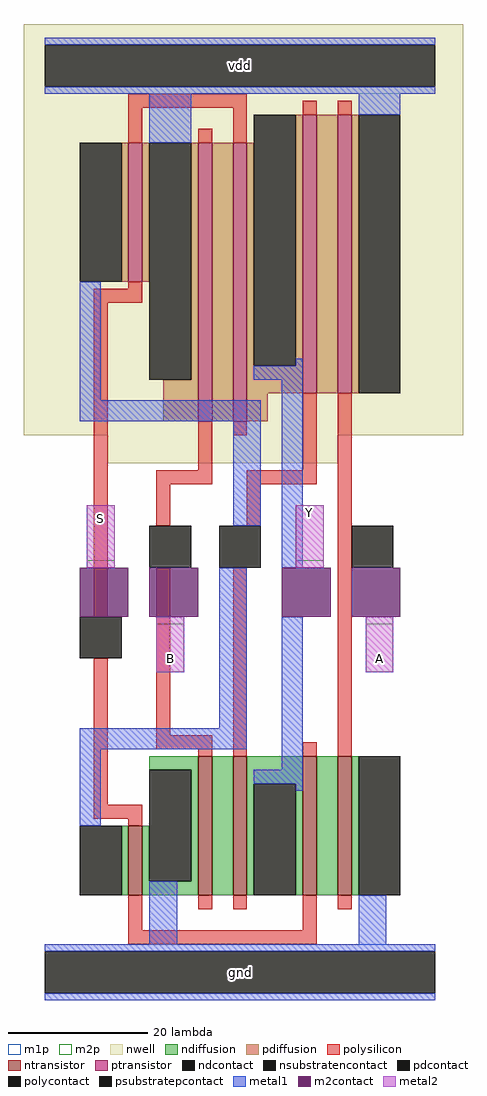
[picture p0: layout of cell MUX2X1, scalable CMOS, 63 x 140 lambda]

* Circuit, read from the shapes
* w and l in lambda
.subckt MUX2X1 A B S Y vdd gnd
M1 gnd S n1 gnd nfet w=10 l=2
M2 n2 B gnd gnd nfet w=20 l=2
M3 Y n1 n2 gnd nfet w=20 l=2
M4 n3 S Y gnd nfet w=20 l=2
M5 gnd A n3 gnd nfet w=20 l=2
M6 vdd S n1 vdd pfet w=20 l=2
M7 n4 B vdd vdd pfet w=40 l=2
M8 Y S n4 vdd pfet w=40 l=2
M9 n5 n1 Y vdd pfet w=40 l=2
M10 vdd A n5 vdd pfet w=40 l=2
.ends

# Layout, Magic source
magic
tech scmos
<< nwell >>
rect -6 77 57 136
rect 6 73 39 77
<< ntransistor >>
rect 9 11 11 21
rect 19 11 21 31
rect 24 11 26 31
rect 34 11 36 31
rect 39 11 41 31
<< ptransistor >>
rect 9 99 11 119
rect 19 79 21 119
rect 24 79 26 119
rect 34 83 36 123
rect 39 83 41 123
<< ndiffusion >>
rect 12 29 19 31
rect 8 11 9 21
rect 11 13 12 21
rect 18 13 19 29
rect 11 11 19 13
rect 21 11 24 31
rect 26 27 34 31
rect 26 11 27 27
rect 33 11 34 27
rect 36 11 39 31
rect 41 11 42 31
<< pdiffusion >>
rect 8 99 9 119
rect 11 99 12 119
rect 18 85 19 119
rect 14 79 19 85
rect 21 79 24 119
rect 26 87 27 119
rect 33 87 34 123
rect 26 83 34 87
rect 36 83 39 123
rect 41 83 42 123
rect 26 79 29 83
<< ndcontact >>
rect 2 11 8 21
rect 12 13 18 29
rect 27 11 33 27
rect 42 11 48 31
<< pdcontact >>
rect 2 99 8 119
rect 12 85 18 119
rect 27 87 33 123
rect 42 83 48 123
<< psubstratepcontact >>
rect -3 -3 53 3
<< nsubstratencontact >>
rect -3 127 53 133
<< polysilicon >>
rect 9 124 26 126
rect 9 119 11 124
rect 19 119 21 121
rect 24 119 26 124
rect 34 123 36 125
rect 39 123 41 125
rect 9 98 11 99
rect 4 96 11 98
rect 4 51 6 96
rect 19 72 21 79
rect 24 77 26 79
rect 34 72 36 83
rect 13 70 21 72
rect 26 70 36 72
rect 13 64 15 70
rect 26 64 28 70
rect 4 24 6 45
rect 13 34 15 58
rect 13 32 21 34
rect 19 31 21 32
rect 24 31 26 58
rect 34 31 36 33
rect 39 31 41 83
rect 4 22 11 24
rect 9 21 11 22
rect 9 6 11 11
rect 19 9 21 11
rect 24 9 26 11
rect 34 6 36 11
rect 39 9 41 11
rect 9 4 36 6
<< polycontact >>
rect 12 58 18 64
rect 22 58 28 64
rect 2 45 8 51
rect 41 58 47 64
<< metal1 >>
rect -3 133 53 134
rect -3 126 53 127
rect 12 119 18 126
rect 42 123 48 126
rect 2 82 5 99
rect 33 87 34 88
rect 27 85 34 87
rect 2 79 28 82
rect 24 64 28 79
rect 31 58 34 85
rect 22 35 26 58
rect 2 32 26 35
rect 2 21 5 32
rect 31 29 34 51
rect 27 27 34 29
rect 12 4 16 13
rect 33 26 34 27
rect 42 4 46 11
rect -3 3 53 4
rect -3 -4 53 -3
<< m2contact >>
rect 2 51 9 58
rect 12 51 19 58
rect 31 51 38 58
rect 41 51 48 58
<< metal2 >>
rect 3 58 7 67
rect 33 58 37 67
rect 13 43 17 51
rect 43 43 47 51
<< m1p >>
rect -3 126 53 134
rect -3 -4 53 4
<< m2p >>
rect 3 59 7 67
rect 33 59 37 67
rect 13 43 17 50
rect 43 43 47 50
<< labels >>
rlabel metal2 45 45 45 45 1 A
port 1 n signal input
rlabel metal2 15 45 15 45 1 B
port 2 n signal input
rlabel metal2 5 65 5 65 1 S
port 3 n signal input
rlabel metal2 35 66 35 66 5 Y
port 4 n signal output
rlabel metal1 -3 126 53 134 0 vdd
port 5 nsew power bidirectional abutment
rlabel metal1 -3 -4 53 4 0 gnd
port 6 nsew ground bidirectional abutment
<< properties >>
string FIXED_BBOX 0 0 50 130
string LEFclass CORE
string LEFsite core
string LEFsymmetry X Y
<< end >>
